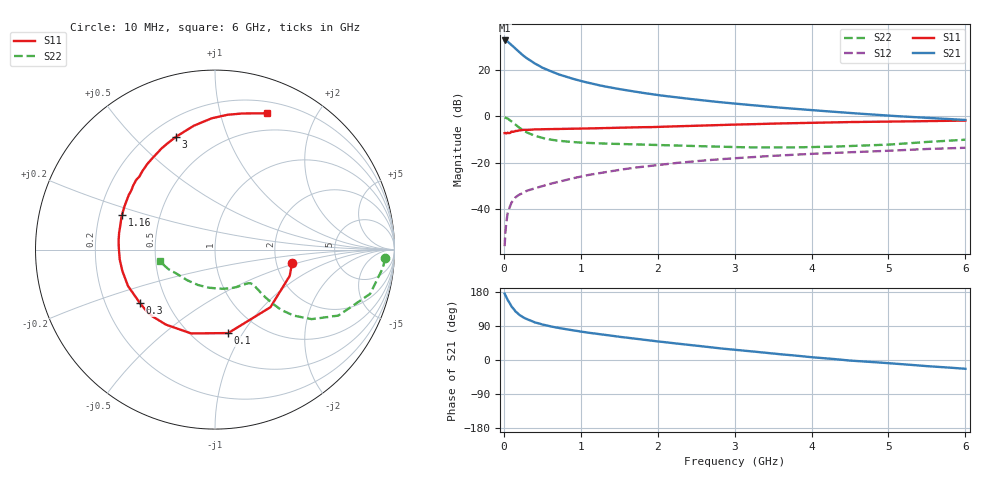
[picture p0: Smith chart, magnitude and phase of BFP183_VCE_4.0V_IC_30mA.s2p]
! Infineon Technologies  Discrete & RF Semiconductors
! BFP183
! VCE = 4.0 V,  IC =  30 mA
! Common Emitter S-Parameters:  Jan 2016
# GHz  S  MA  R  50
!  f  S11  S21  S12  S22
! GHz  MAG  ANG  MAG  ANG  MAG  ANG  MAG  ANG
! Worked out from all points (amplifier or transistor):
!   210 points, 10 MHz to 6 GHz, reference 50 ohm
!   highest |S21| = 32.7 dB at 10 MHz (marker M1)
!   |S21| within 3 dB of that: start of sweep to 134.4 MHz
!   unconditionally stable (mu >= 1): 663.2 MHz to 5.729 GHz
!   at 185 MHz: K = 0.47, MSG = 31.1 dB, |S12| = -34.1 dB
!   at 1.52 GHz: K = 1.16, MAG = 14.9 dB, |S12| = -23.0 dB
!   at 6 GHz: K = 0.96, MSG = 6.0 dB, |S12| = -13.5 dB
!   S11 on the Smith chart (normalised r, x): 10 MHz: 2.45, -0.45; 100 MHz: 0.72, -0.87; 300 MHz: 0.35, -0.29; 1.16 GHz: 0.30, +0.16; 3 GHz: 0.30, +0.67; 6 GHz: 0.31, +1.41
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0.01  0.4362 -9.8  43.24 175.3  0.0016 76.2  0.9508 -2.9
0.02  0.4412 -19.4  43.22 171.2  0.0031 84.5  0.9397 -6.4
0.05  0.4455 -46.1  40.95 158.4  0.0082 77.9  0.8989 -15.9
0.1  0.4709 -81.0  34.73 141.2  0.0139 63.1  0.7796 -28.1
0.15  0.4856 -105.9  29.01 128.4  0.018 56.4  0.6637 -35.7
0.2  0.4994 -123.1  24.29 119.3  0.0206 53.2  0.5718 -40.0
0.24  0.5095 -133.0  21.27 114.0  0.022 52.0  0.5169 -41.7
0.26  0.5131 -137.2  19.99 111.6  0.0228 51.7  0.4927 -42.4
0.3  0.5135 -144.3  17.81 107.5  0.025 51.8  0.4503 -43.1
0.4  0.5255 -157.3  13.88 99.4  0.0282 52.0  0.384 -43.5
0.5  0.5297 -166.9  11.23 93.7  0.0314 53.0  0.3434 -43.2
0.6  0.5337 -174.0  9.531 88.9  0.0352 54.5  0.3173 -42.8
0.7  0.5355 -179.9  8.163 84.9  0.0386 55.5  0.2999 -42.5
1.02  0.5453 164.9  5.686 74.4  0.0512 57.0  0.2716 -43.6
1.16  0.5528 159.6  5.016 70.6  0.0568 56.8  0.2654 -44.9
1.5  0.5685 148.2  3.879 61.3  0.0704 55.8  0.2545 -49.2
2.02  0.596 132.7  2.855 48.7  0.0907 52.0  0.2424 -58.7
3  0.6652 109.0  1.887 26.8  0.1255 43.4  0.2185 -83.7
3.1  0.6708 107.1  1.823 25.1  0.1286 42.4  0.2166 -86.7
4.1  0.7354 90.1  1.326 5.8  0.1589 33.1  0.2196 -119.2
5.1  0.7764 77.7  1.015 -9.9  0.185 25.1  0.2527 -148.0
6  0.813 69.1  0.838 -23.2  0.2109 16.7  0.315 -168.0
